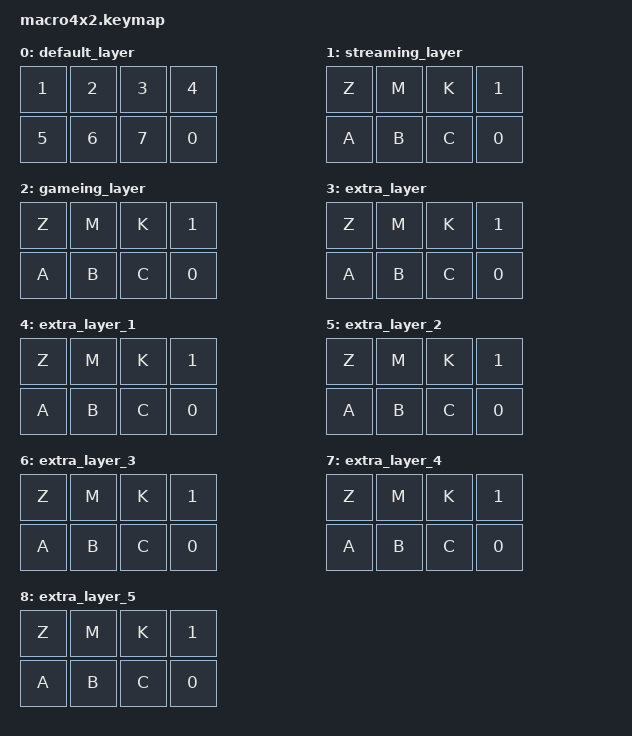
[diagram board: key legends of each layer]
#include <behaviors.dtsi>
#include <dt-bindings/zmk/keys.h>

/ {
    keymap {
        compatible = "zmk,keymap";
        //&studio_unlock

        default_layer { // Layer 0
            // -------------------------------------
            // |     Z     |     M     |     K     |
            // |     A     |     B     |     C     |
            // |     D     |     E     |     F     |
            bindings = <
                &kp 1    &kp 2    &kp 3     &kp 4
                &kp 5    &kp 6    &kp 7     &kp 0
            >;
        };

        streaming_layer { // Layer 0
            // -------------------------------------
            // |     Z     |     M     |     K     |
            // |     A     |     B     |     C     |
            // |     D     |     E     |     F     |
            bindings = <
                &kp Z    &kp M    &kp K     &kp 1
                &kp A    &kp B    &kp C     &kp 0
            >;
        };

                gameing_layer { // Layer 0
            // -------------------------------------
            // |     Z     |     M     |     K     |
            // |     A     |     B     |     C     |
            // |     D     |     E     |     F     |
            bindings = <
                &kp Z    &kp M    &kp K     &kp 1
                &kp A    &kp B    &kp C     &kp 0
            >;
        };

                extra_layer { // Layer 0
            // -------------------------------------
            // |     Z     |     M     |     K     |
            // |     A     |     B     |     C     |
            // |     D     |     E     |     F     |
            bindings = <
                &kp Z    &kp M    &kp K     &kp 1
                &kp A    &kp B    &kp C     &kp 0
            >;
        };
          extra_layer_1 { // Layer 0
            // -------------------------------------
            // |     Z     |     M     |     K     |
            // |     A     |     B     |     C     |
            // |     D     |     E     |     F     |
            bindings = <
                &kp Z    &kp M    &kp K     &kp 1
                &kp A    &kp B    &kp C     &kp 0
            >;
        };
          extra_layer_2 { // Layer 0
            // -------------------------------------
            // |     Z     |     M     |     K     |
            // |     A     |     B     |     C     |
            // |     D     |     E     |     F     |
            bindings = <
                &kp Z    &kp M    &kp K     &kp 1
                &kp A    &kp B    &kp C     &kp 0
            >;
        };
          extra_layer_3 { // Layer 0
            // -------------------------------------
            // |     Z     |     M     |     K     |
            // |     A     |     B     |     C     |
            // |     D     |     E     |     F     |
            bindings = <
                &kp Z    &kp M    &kp K     &kp 1
                &kp A    &kp B    &kp C     &kp 0
            >;
        };

                  extra_layer_4 { // Layer 0
            // -------------------------------------
            // |     Z     |     M     |     K     |
            // |     A     |     B     |     C     |
            // |     D     |     E     |     F     |
            bindings = <
                &kp Z    &kp M    &kp K     &kp 1
                &kp A    &kp B    &kp C     &kp 0
            >;
            
        };
                          extra_layer_5 { // Layer 0
            // -------------------------------------
            // |     Z     |     M     |     K     |
            // |     A     |     B     |     C     |
            // |     D     |     E     |     F     |
            bindings = <
                &kp Z    &kp M    &kp K     &kp 1
                &kp A    &kp B    &kp C     &kp 0
            >;
            
        };
    };
 };
